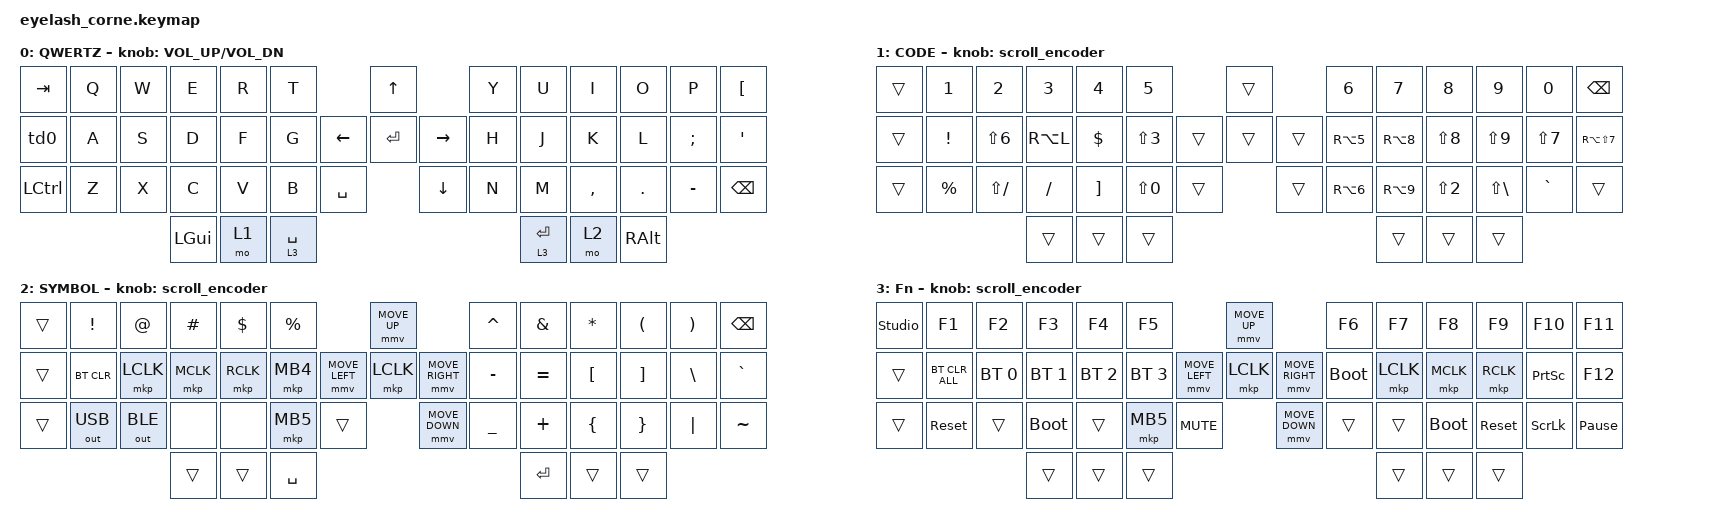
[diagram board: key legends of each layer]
#define ZMK_POINTING_DEFAULT_MOVE_VAL 1200  // 600
#define ZMK_POINTING_DEFAULT_SCRL_VAL 25   // 10

#include <input/processors.dtsi>
#include <zephyr/dt-bindings/input/input-event-codes.h>
#include <behaviors.dtsi>
#include <dt-bindings/zmk/bt.h>
#include <dt-bindings/zmk/keys.h>
#include <dt-bindings/zmk/outputs.h>
#include <dt-bindings/zmk/pointing.h>
#include <dt-bindings/zmk/rgb.h>

&mmv_input_listener { input-processors = <&zip_xy_scaler 2 1>; };

&msc_input_listener { input-processors = <&zip_scroll_scaler 2 1>; };

&msc {
    acceleration-exponent = <1>;      // 0
    time-to-max-speed-ms = <100>;       // 300
    delay-ms = <0>;                   // 0
};

&mmv {
    time-to-max-speed-ms = <500>;
    acceleration-exponent = <1>;
    trigger-period-ms = <16>;
};

&soft_off { hold-time-ms = <2000>; };

/ {
    behaviors {
        td0: td0 {
            compatible = "zmk,behavior-tap-dance";
            display-name = "Shift/Caps Lock Tap Dance";
            #binding-cells = <0>;
            bindings = <&kp LEFT_SHIFT>, <&kp CAPS>;
        };
    };

    rgb_encoder: rgb_encoder {
        compatible = "zmk,behavior-sensor-rotate";
        #sensor-binding-cells = <0>;
        bindings = <&rgb_ug RGB_BRI>, <&rgb_ug RGB_BRD>;
    };

    scroll_encoder: scroll_encoder {
        compatible = "zmk,behavior-sensor-rotate";
        #sensor-binding-cells = <0>;
        bindings = <&msc SCRL_DOWN>, <&msc SCRL_UP>;

        tap-ms = <100>;
    };

    combos {
        compatible = "zmk,combos";

        softoff {
            bindings = <&soft_off>;
            key-positions = <1 15 29>;
        };
    };

    keymap {
        compatible = "zmk,keymap";

        default_layer {
            display-name = "QWERTZ";
            bindings = <
&kp TAB    &kp Q  &kp W  &kp E     &kp R  &kp T                               &kp UP                &kp Y  &kp U  &kp I      &kp O    &kp P      &kp LBKT
&td0       &kp A  &kp S  &kp D     &kp F  &kp G                     &kp LEFT  &kp ENTER  &kp RIGHT  &kp H  &kp J  &kp K      &kp L    &kp SEMI   &kp SQT
&kp LCTRL  &kp Z  &kp X  &kp C     &kp V  &kp B        &kp SPACE              &kp DOWN              &kp N  &kp M  &kp COMMA  &kp DOT  &kp MINUS  &kp BSPC
                         &kp LGUI  &mo 1  &lt 3 SPACE                                               &lt 3 ENTER  &mo 2  &kp RALT
            >;

            sensor-bindings = <&inc_dec_kp C_VOL_UP C_VOL_DN>;
        };

        lower_layer {
            display-name = "CODE";
            bindings = <
&trans  &kp N1    &kp N2            &kp N3           &kp N4    &kp N5                                      &trans        &kp N6           &kp N7           &kp N8           &kp N9           &kp N0    &kp BSPC
&trans  &kp EXCL  &kp LS(N6)        &kp RA(L)        &kp DLLR  &kp LS(N3)                   &trans         &trans        &trans           &kp RA(N5)       &kp RA(N8)       &kp LS(N8)       &kp LS(N9)       &kp LS(N7)  &kp RA(LS(N7))
&trans  &kp PRCNT &kp LS(FSLH)      &kp FSLH         &kp RBKT  &kp LS(N0)  &trans                         &trans        &kp RA(N6)       &kp RA(N9)       &kp LS(N2)       &kp LS(BSLH)     &kp GRAVE &trans
                                    &trans           &trans    &trans                                                   &trans           &trans           &trans
            >;

            sensor-bindings = <&scroll_encoder>;
        };

        raise_layer {
            display-name = "SYMBOL";
            bindings = <
&trans  &kp EXCL      &kp AT        &kp HASH   &kp DLLR   &kp PRCNT                            &mmv MOVE_UP                     &kp CARET  &kp AMPS   &kp ASTRK  &kp LPAR  &kp RPAR  &kp BSPC
&trans  &bt BT_CLR    &mkp LCLK     &mkp MCLK  &mkp RCLK  &mkp MB4             &mmv MOVE_LEFT  &mkp LCLK       &mmv MOVE_RIGHT  &kp MINUS  &kp EQUAL  &kp LBKT   &kp RBKT  &kp BSLH  &kp GRAVE
&trans  &out OUT_USB  &out OUT_BLE  &none      &none      &mkp MB5   &trans                    &mmv MOVE_DOWN                   &kp UNDER  &kp PLUS   &kp LBRC   &kp RBRC  &kp PIPE  &kp TILDE
                                    &trans     &trans     &kp SPACE                                                             &kp RET    &trans     &trans
            >;

            sensor-bindings = <&scroll_encoder>;
        };

        layer_3 {
            display-name = "Fn";
            bindings = <
&studio_unlock  &kp F1           &kp F2        &kp F3        &kp F4        &kp F5                                  &mmv MOVE_UP                     &kp F6       &kp F7     &kp F8       &kp F9      &kp F10          &kp F11
&trans          &bt BT_CLR_ALL   &bt BT_SEL 0  &bt BT_SEL 1  &bt BT_SEL 2  &bt BT_SEL 3                &mmv MOVE_LEFT  &mkp LCLK       &mmv MOVE_RIGHT  &bootloader  &mkp LCLK  &mkp MCLK    &mkp RCLK   &kp PRINTSCREEN  &kp F12
&trans          &sys_reset       &trans        &bootloader   &trans        &mkp MB5      &kp C_MUTE                    &mmv MOVE_DOWN                   &trans       &trans     &bootloader  &sys_reset  &kp SCROLLLOCK   &kp PAUSE_BREAK
                                               &trans        &trans        &trans                                                                       &trans       &trans     &trans
            >;

            sensor-bindings = <&scroll_encoder>;
        };
    };
};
